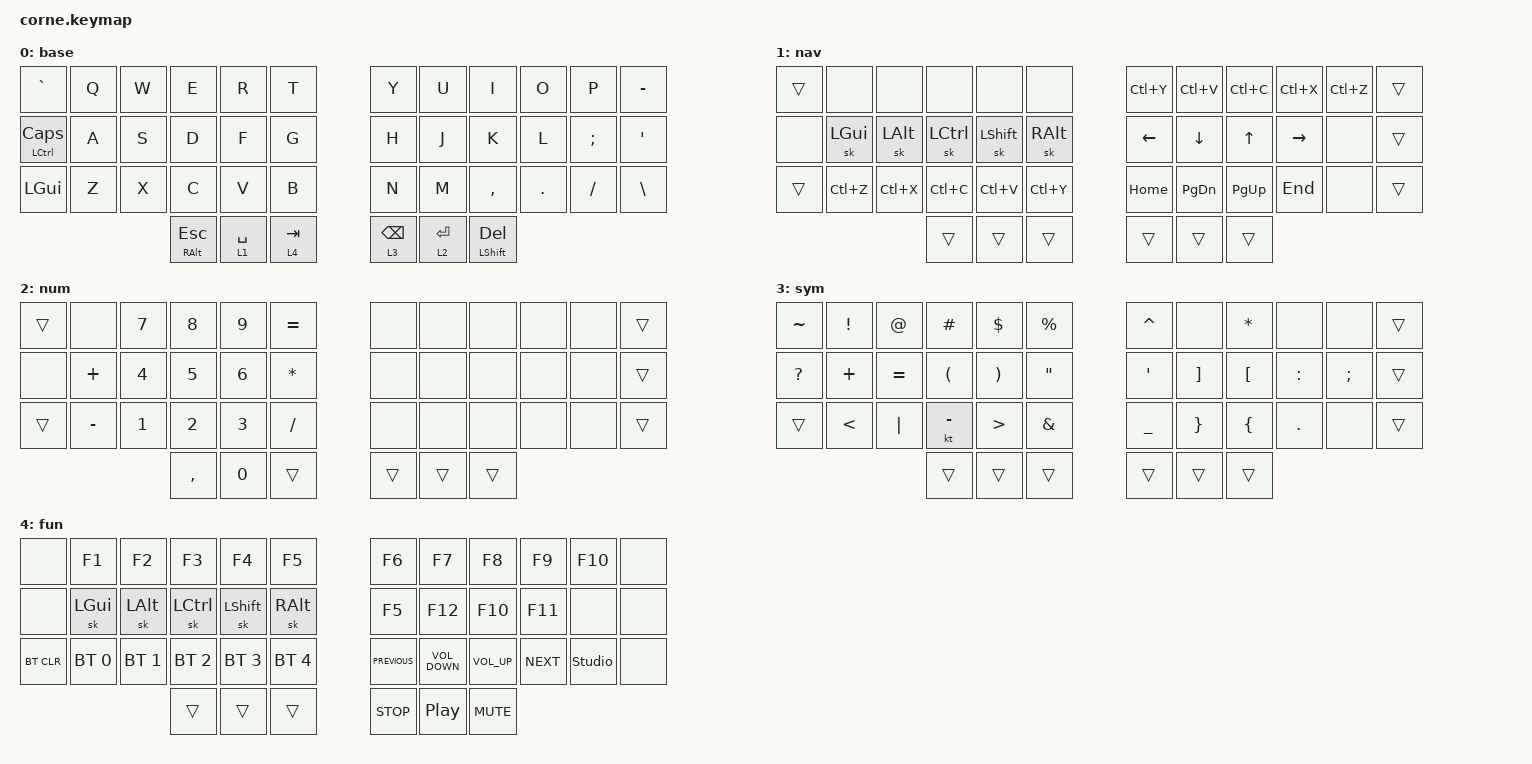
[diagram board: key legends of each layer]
/*
 * Copyright (c) 2020 The ZMK Contributors
 *
 * SPDX-License-Identifier: MIT
 */

#include <behaviors.dtsi>
#include <dt-bindings/zmk/keys.h>
#include <dt-bindings/zmk/bt.h>


&lt {
    tapping-term-ms = <180>;
    quick-tap-ms = <180>;
    flavor = "balanced";
};

/ {
    keymap {
        compatible = "zmk,keymap";

        base {
            bindings = <
&kp GRAVE                  &kp Q  &kp W  &kp E            &kp R        &kp T        &kp Y            &kp U        &kp I                  &kp O    &kp P          &kp MINUS
&mt LEFT_CONTROL CAPSLOCK  &kp A  &kp S  &kp D            &kp F        &kp G        &kp H            &kp J        &kp K                  &kp L    &kp SEMICOLON  &kp SINGLE_QUOTE
&kp LEFT_GUI               &kp Z  &kp X  &kp C            &kp V        &kp B        &kp N            &kp M        &kp COMMA              &kp DOT  &kp SLASH      &kp BACKSLASH
                                         &mt RALT ESCAPE  &lt 1 SPACE  &lt 4 TAB    &lt 3 BACKSPACE  &lt 2 ENTER  &mt LEFT_SHIFT DELETE
            >;
        };

        nav {
            bindings = <
&trans  &none         &none         &none             &none           &none            &kp LC(Y)  &kp LC(V)      &kp LC(C)    &kp LC(X)  &kp LC(Z)  &trans
&none   &sk LEFT_GUI  &sk LEFT_ALT  &sk LEFT_CONTROL  &sk LEFT_SHIFT  &sk RIGHT_ALT    &kp LEFT   &kp DOWN       &kp UP       &kp RIGHT  &none      &trans
&trans  &kp LC(Z)     &kp LC(X)     &kp LC(C)         &kp LC(V)       &kp LC(Y)        &kp HOME   &kp PAGE_DOWN  &kp PAGE_UP  &kp END    &none      &trans
                                    &trans            &trans          &trans           &trans     &trans         &trans
            >;
        };

        num {
            bindings = <
&trans  &none      &kp NUMBER_7  &kp NUMBER_8  &kp NUMBER_9  &kp EQUAL    &none   &none   &none   &none   &none   &trans
&none   &kp PLUS   &kp NUMBER_4  &kp NUMBER_5  &kp NUMBER_6  &kp ASTRK    &none   &none   &none   &none   &none   &trans
&trans  &kp MINUS  &kp NUMBER_1  &kp NUMBER_2  &kp NUMBER_3  &kp SLASH    &none   &none   &none   &none   &none   &trans
                                 &kp COMMA     &kp N0        &trans       &trans  &trans  &trans
            >;
        };

        sym {
            bindings = <
&kp TILDE     &kp EXCL       &kp AT     &kp HASH              &kp DOLLAR             &kp PERCENT          &kp CARET         &none              &kp ASTRK         &none      &none          &trans
&kp QUESTION  &kp PLUS       &kp EQUAL  &kp LEFT_PARENTHESIS  &kp RIGHT_PARENTHESIS  &kp DOUBLE_QUOTES    &kp SINGLE_QUOTE  &kp RIGHT_BRACKET  &kp LEFT_BRACKET  &kp COLON  &kp SEMICOLON  &trans
&trans        &kp LESS_THAN  &kp PIPE   &kt MINUS             &kp GREATER_THAN       &kp AMPERSAND        &kp UNDER         &kp RIGHT_BRACE    &kp LEFT_BRACE    &kp DOT    &none          &trans
                                        &trans                &trans                 &trans               &trans            &trans             &trans
            >;
        };

        fun {
            bindings = <
&none       &kp F1        &kp F2        &kp F3            &kp F4          &kp F5           &kp F6          &kp F7            &kp F8             &kp F9           &kp F10        &none
&none       &sk LEFT_GUI  &sk LEFT_ALT  &sk LEFT_CONTROL  &sk LEFT_SHIFT  &sk RIGHT_ALT    &kp F5          &kp F12           &kp F10            &kp F11          &none          &none
&bt BT_CLR  &bt BT_SEL 0  &bt BT_SEL 1  &bt BT_SEL 2      &bt BT_SEL 3    &bt BT_SEL 4     &kp C_PREVIOUS  &kp C_VOLUME_DOWN &kp C_VOLUME_UP    &kp C_NEXT       &studio_unlock &none
                                        &trans            &trans          &trans           &kp C_STOP      &kp C_PLAY_PAUSE  &kp C_MUTE
            >;
        };
    };
};
